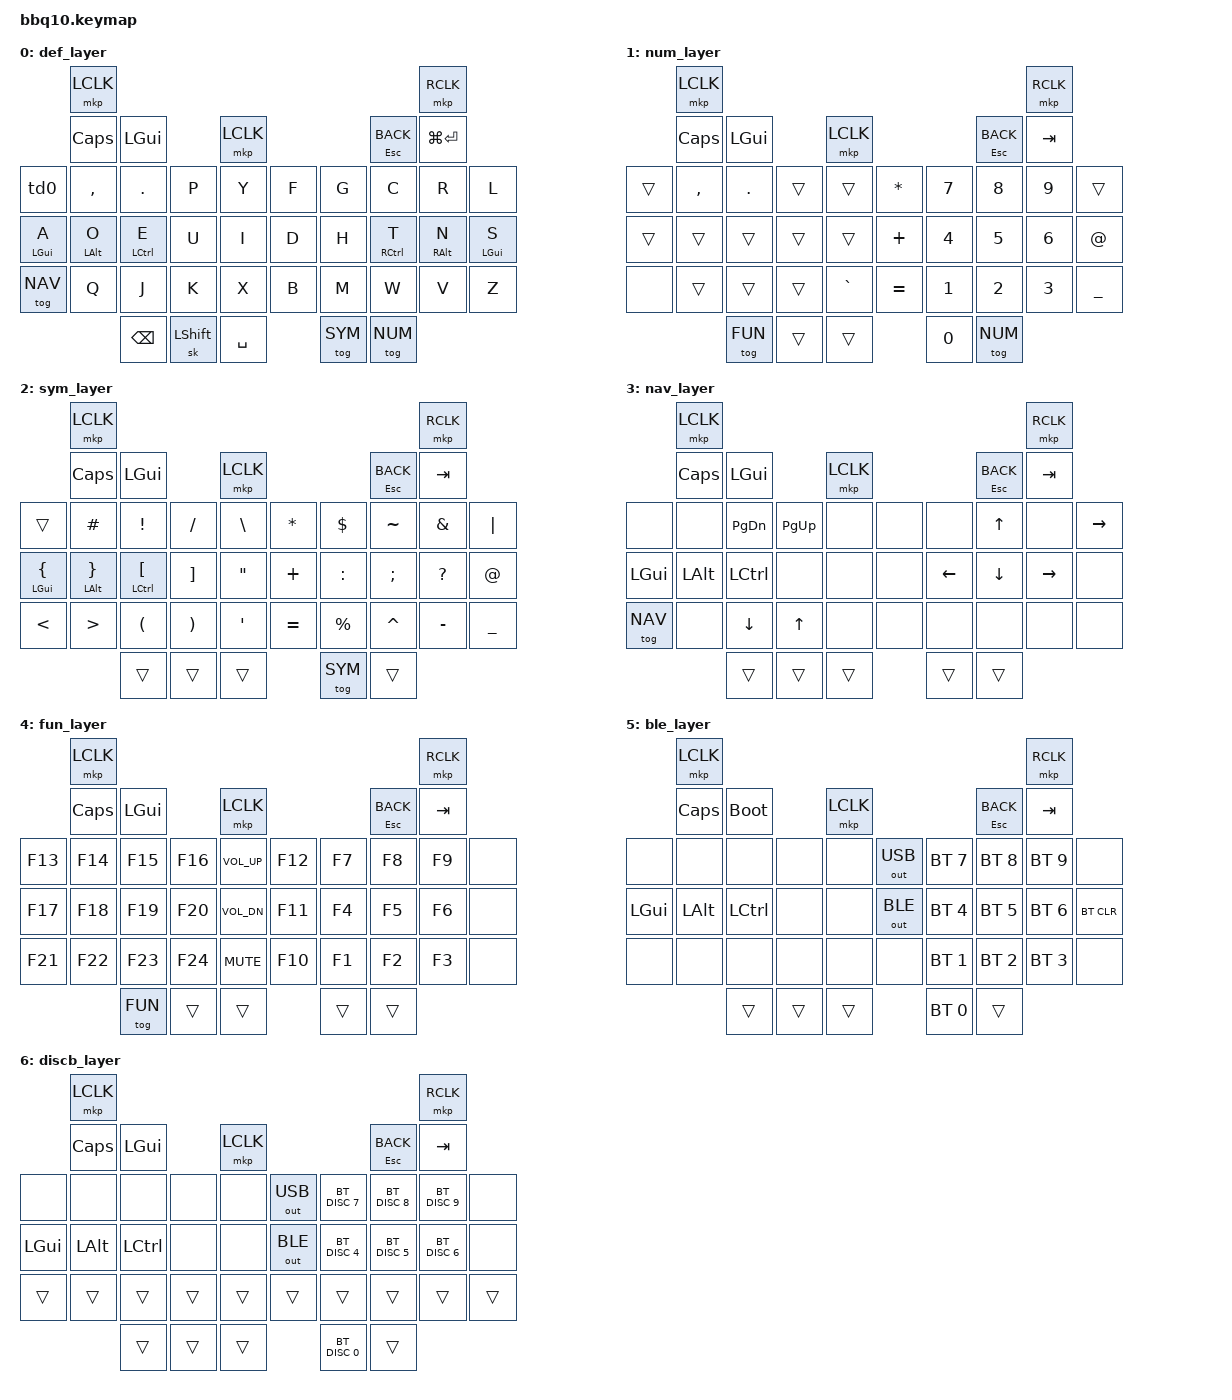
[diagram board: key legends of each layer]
/*
 * Copyright (c) 2023 ZitaoTech
 *
 * SPDX-License-Identifier: MIT
 */

#include <behaviors.dtsi>
#include <dt-bindings/zmk/keys.h>
#include <dt-bindings/zmk/bt.h>
#include <dt-bindings/zmk/outputs.h>
#include <dt-bindings/zmk/mouse.h>
#include <dt-bindings/zmk/backlight.h>
#include <dt-bindings/zmk/ext_power.h>

#define DEF 0
#define NUM 1
#define SYM 2
#define NAV 3
#define FUN 4
#define BLE 5
#define DISCB 6

//  0  1  2       3      4  5  6
//  7  8  9  10 11 12 13 14 15 16
//  17 18 19 20 21 22 23 24 25 26
//  27 28 29 30 31 32 33 34 35 36
//     37 38      39     40 41

/ {
    combos {
        compatible = "zmk,combos";
        combo_esc {
            timeout-ms = <50>;
            key-positions = <12 13>;
            bindings = <&kp ESC>;
        };
        combo_ret {
            timeout-ms = <50>;
            key-positions = <13 14>;
            bindings = <&kp RET>;
        };
        combo_tab {
            timeout-ms = <50>;
            key-positions = <10 11>;
            bindings = <&kp TAB>;
        };
        combo_bspace {
            timeout-ms = <50>;
            key-positions = <23 24>;
            bindings = <&kp BSPC>;
        };
    };
        behaviors {
                td0: tap_dance_0 {
                     compatible = "zmk,behavior-tap-dance";
                     #binding-cells = <0>;
                     tapping-term-ms = <200>;
                     bindings = <&sl 5>, <&sl 6>, <&kp CAPS>;
                };
                lht: left_positional_hold_tap {
                     compatible = "zmk,behavior-hold-tap";
                     #binding-cells = <2>;
                     flavor = "tap-preferred";
                     tapping-term-ms = <300>;
                     quick-tap-ms = <200>;
                     require-prior-idle-ms = <125>;
                     bindings = <&kp>, <&kp>;
                     //hold-trigger-key-positions = < 12 13 14 15 16 22 23 24 25 26 31 32 33 34 35 36 37 38 39 40 41 >;
                };
                rht: right_positional_hold_tap {
                     compatible = "zmk,behavior-hold-tap";
                     #binding-cells = <2>;
                     flavor = "tap-preferred";
                     tapping-term-ms = <300>;
                     quick-tap-ms = <200>;
                     require-prior-idle-ms = <125>;
                     bindings = <&kp>, <&kp>;
                     //hold-trigger-key-positions = < 7 8 9 10 11 17 18 19 20 21 27 28 29 30 31 37 38 39 40 41 >;
                };
    };
        keymap {
                compatible = "zmk,keymap";

                def_layer {
                        bindings = <
//                      _______________                                                                                                 _______________
//                     | ShoudlderKey1 |                                                                                               | Shoulderkey2  |
                        &mkp LCLK                                                                                                       &mkp RCLK
//                     |_______________|_______________                 _______________________________                 _______________|_______________|
//                     | Call Key      |  BB Key       |               |           Trackpad            |               | Back Key      | End Call Key  |
                        &kp CLCK        &kp LGUI                            &mkp LCLK                                    &mt ESC K_BACK   &kp LG(RET)
//      _______________|_______________|_______________|_______________|_______________ _______________|_______________|_______________|_______________|_______________
//0    |1              |2              |3              |4              |5              |6              |7              |8              |9              |10             |
        &td0            &kp COMMA       &kp DOT         &kp P           &kp Y           &kp F           &kp G           &kp C           &kp R           &kp L
//     |_______________|_______________|_______________|_______________|_______________|_______________|_______________|_______________|_______________|_______________|
//12   |13             |14             |15             |16             |17             |18             |19             |20             |21             |22             |
        &lht LGUI A     &lht LALT O     &lht LCTRL E    &kp U           &kp I           &kp D           &kp H           &rht RCTRL T    &rht RALT N     &rht LGUI S
//     |_______________|_______________|_______________|_______________|_______________|_______________|_______________|_______________|_______________|_______________|
//24   |25             |26             |27             |28             |29             |30             |31             |32             |33             |34             |
        &tog NAV        &kp Q           &kp J           &kp K           &kp X           &kp B           &kp M           &kp W           &kp V           &kp Z
//     |_______________|_______________|_______________|_______________|_______________|_______________|_______________|_______________|_______________|_______________|
//                                     |36             |37             |38         SPACEKEY            |40             |41             |
                                        &kp BSPC        &sk LSHFT        &kp SPACE                       &tog SYM         &tog NUM
//                                     |_______________|_______________|_______________________________|_______________|_______________|
                        >;
                };

                num_layer {

                        bindings = <
//                      _______________                                                                                                 _______________
//                     | ShoudlderKey1 |                                                                                               | Shoulderkey2  |
                        &mkp LCLK                                                                                                       &mkp RCLK
//                     |_______________|_______________                 _______________________________                 _______________|_______________|
//                     | Call Key      |  BB Key       |               |           Trackpad            |               | Back Key      | End Call Key  |
                        &kp CLCK        &kp LGUI                            &mkp LCLK                                    &mt ESC K_BACK   &kp TAB
//      _______________|_______________|_______________|_______________|_______________ _______________|_______________|_______________|_______________|_______________ 
//0    |1              |2              |3              |4              |5              |6              |7              |8              |9              |10             |
        &trans          &kp COMMA       &kp DOT         &trans          &trans          &kp ASTERISK    &kp N7          &kp N8          &kp N9          &trans
//     |_______________|_______________|_______________|_______________|_______________|_______________|_______________|_______________|_______________|_______________|
//12   |13             |14             |15             |16             |17             |18             |19             |20             |21             |22             |
        &trans          &trans          &trans          &trans          &trans          &kp PLUS        &kp N4          &kp N5          &kp N6          &kp AT
//     |_______________|_______________|_______________|_______________|_______________|_______________|_______________|_______________|_______________|_______________|
//24   |25             |26             |27             |28             |29             |30             |31             |32             |33             |34             |
        &none           &trans          &trans          &trans          &kp GRAVE       &kp EQUAL       &kp N1          &kp N2          &kp N3          &kp UNDERSCORE
//     |_______________|_______________|_______________|_______________|_______________|_______________|_______________|_______________|_______________|_______________|
//                                     |36             |37             |38         SPACEKEY            |40             |41             |
                                        &tog FUN        &trans          &trans                          &kp N0          &tog NUM
//                                     |_______________|_______________|_______________________________|_______________|_______________|
                        >;
                };

                sym_layer {
                        bindings = <
//                      _______________                                                                                                 _______________
//                     | ShoudlderKey1 |                                                                                               | Shoulderkey2  |
                        &mkp LCLK                                                                                                       &mkp RCLK
//                     |_______________|_______________                 _______________________________                 _______________|_______________|
//                     | Call Key      |  BB Key       |               |           Trackpad            |               | Back Key      | End Call Key  |
                        &kp CLCK        &kp LGUI                            &mkp LCLK                                    &mt ESC K_BACK   &kp TAB
//      _______________|_______________|_______________|_______________|_______________ _______________|_______________|_______________|_______________|_______________
//0    |1              |2              |3              |4              |5              |6              |7              |8              |9              |10             |
        &trans          &kp POUND       &kp EXCLAMATION &kp SLASH       &kp BACKSLASH   &kp ASTERISK    &kp DOLLAR      &kp TILDE       &kp AMPERSAND   &kp PIPE
//     |_______________|_______________|_______________|_______________|_______________|_______________|_______________|_______________|_______________|_______________|
//12   |13             |14             |15             |16             |17             |18             |19             |20             |21             |22             |
        &lht LGUI LBRC  &lht LALT RBRC  &lht LCTRL LBKT &kp RBKT        &kp DQT         &kp PLUS        &kp COLON       &kp SEMI        &kp QMARK       &kp AT
//     |_______________|_______________|_______________|_______________|_______________|_______________|_______________|_______________|_______________|_______________|
//24   |25             |26             |27             |28             |29             |30             |31             |32             |33             |34             |
        &kp LT          &kp GT          &kp LPAR        &kp RPAR        &kp SQT         &kp EQUAL       &kp PERCENT     &kp CARET       &kp MINUS       &kp UNDERSCORE
//     |_______________|_______________|_______________|_______________|_______________|_______________|_______________|_______________|_______________|_______________|
//                                     |36             |37             |38         SPACEKEY            |40             |41             |
                                        &trans          &trans          &trans                          &tog SYM        &trans 
//                                     |_______________|_______________|_______________________________|_______________|_______________|
                        >;
                };

                nav_layer {
                        bindings = <
//                      _______________                                                                                                 _______________
//                     | ShoudlderKey1 |                                                                                               | Shoulderkey2  |
                        &mkp LCLK                                                                                                       &mkp RCLK
//                     |_______________|_______________                 _______________________________                 _______________|_______________|
//                     | Call Key      |  BB Key       |               |           Trackpad            |               | Back Key      | End Call Key  |
                        &kp CLCK        &kp LGUI                            &mkp LCLK                                    &mt ESC K_BACK   &kp TAB
//      _______________|_______________|_______________|_______________|_______________ _______________|_______________|_______________|_______________|_______________
//0    |1              |2              |3              |4              |5              |6              |7              |8              |9              |10             |
        &none           &none           &kp PG_DN       &kp PG_UP       &none           &none           &none           &kp UP          &none           &kp RIGHT
//     |_______________|_______________|_______________|_______________|_______________|_______________|_______________|_______________|_______________|_______________|
//12   |13             |14             |15             |16             |17             |18             |19             |20             |21             |22             |
        &kp LGUI        &kp LALT        &kp LCTRL       &none           &none           &none           &kp LEFT        &kp DOWN        &kp RIGHT       &none
//     |_______________|_______________|_______________|_______________|_______________|_______________|_______________|_______________|_______________|_______________|
//24   |25             |26             |27             |28             |29             |30             |31             |32             |33             |34             |
        &tog NAV        &none           &kp DOWN        &kp UP          &none           &none           &none           &none           &none           &none
//     |_______________|_______________|_______________|_______________|_______________|_______________|_______________|_______________|_______________|_______________|
//                                     |36             |37             |38         SPACEKEY            |40             |41             |
                                        &trans          &trans          &trans                          &trans          &trans 
//                                     |_______________|_______________|_______________________________|_______________|_______________|
                        >;
                };
                fun_layer {
                        bindings = <
//                      _______________                                                                                                 _______________
//                     | ShoudlderKey1 |                                                                                               | Shoulderkey2  |
                        &mkp LCLK                                                                                                       &mkp RCLK
//                     |_______________|_______________                 _______________________________                 _______________|_______________|
//                     | Call Key      |  BB Key       |               |           Trackpad            |               | Back Key      | End Call Key  |
                        &kp CLCK        &kp LGUI                            &mkp LCLK                                    &mt ESC K_BACK   &kp TAB
//      _______________|_______________|_______________|_______________|_______________ _______________|_______________|_______________|_______________|_______________
//0    |1              |2              |3              |4              |5              |6              |7              |8              |9              |10             |
        &kp F13         &kp F14         &kp F15         &kp F16         &kp C_VOL_UP    &kp F12         &kp F7          &kp F8          &kp F9          &none
//     |_______________|_______________|_______________|_______________|_______________|_______________|_______________|_______________|_______________|_______________|
//12   |13             |14             |15             |16             |17             |18             |19             |20             |21             |22             |
        &kp F17         &kp F18         &kp F19         &kp F20         &kp C_VOL_DN    &kp F11         &kp F4          &kp F5          &kp F6          &none
//     |_______________|_______________|_______________|_______________|_______________|_______________|_______________|_______________|_______________|_______________|
//24   |25             |26             |27             |28             |29             |30             |31             |32             |33             |34             |
        &kp F21         &kp F22         &kp F23         &kp F24         &kp C_MUTE      &kp F10         &kp F1          &kp F2          &kp F3          &none
//     |_______________|_______________|_______________|_______________|_______________|_______________|_______________|_______________|_______________|_______________|
//                                     |36             |37             |38         SPACEKEY            |40             |41             |
                                        &tog FUN        &trans          &trans                          &trans          &trans 
//                                     |_______________|_______________|_______________________________|_______________|_______________|
                        >;
                };
                ble_layer {
                        bindings = <
//                      _______________                                                                                                 _______________
//                     | ShoudlderKey1 |                                                                                               | Shoulderkey2  |
                        &mkp LCLK                                                                                                       &mkp RCLK
//                     |_______________|_______________                 _______________________________                 _______________|_______________|
//                     | Call Key      |  BB Key       |               |           Trackpad            |               | Back Key      | End Call Key  |
                        &kp CLCK        &bootloader                         &mkp LCLK                                    &mt ESC K_BACK   &kp TAB
//      _______________|_______________|_______________|_______________|_______________ _______________|_______________|_______________|_______________|_______________
//0    |1              |2              |3              |4              |5              |6              |7              |8              |9              |10             |
        &none           &none           &none           &none           &none           &out OUT_USB     &bt BT_SEL 7    &bt BT_SEL 8    &bt BT_SEL 9   &none
//     |_______________|_______________|_______________|_______________|_______________|_______________|_______________|_______________|_______________|_______________|
//12   |13             |14             |15             |16             |17             |18             |19             |20             |21             |22             |
        &kp LGUI        &kp LALT        &kp LCTRL       &none           &none           &out OUT_BLE    &bt BT_SEL 4    &bt BT_SEL 5    &bt BT_SEL 6    &bt BT_CLR
//     |_______________|_______________|_______________|_______________|_______________|_______________|_______________|_______________|_______________|_______________|
//24   |25             |26             |27             |28             |29             |30             |31             |32             |33             |34             |
        &none           &none           &none           &none           &none           &none           &bt BT_SEL 1    &bt BT_SEL 2    &bt BT_SEL 3    &none
//     |_______________|_______________|_______________|_______________|_______________|_______________|_______________|_______________|_______________|_______________|
//                                     |36             |37             |38         SPACEKEY            |40             |41             |
                                        &trans          &trans          &trans                          &bt BT_SEL 0    &trans 
//                                     |_______________|_______________|_______________________________|_______________|_______________|
                        >;
                };
                discb_layer {
                        bindings = <
//                      _______________                                                                                                 _______________
//                     | ShoudlderKey1 |                                                                                               | Shoulderkey2  |
                        &mkp LCLK                                                                                                       &mkp RCLK
//                     |_______________|_______________                 _______________________________                 _______________|_______________|
//                     | Call Key      |  BB Key       |               |           Trackpad            |               | Back Key      | End Call Key  |
                        &kp CLCK        &kp LGUI                            &mkp LCLK                                    &mt ESC K_BACK   &kp TAB
//      _______________|_______________|_______________|_______________|_______________ _______________|_______________|_______________|_______________|_______________
//0    |1              |2              |3              |4              |5              |6              |7              |8              |9              |10             |
        &none           &none           &none           &none           &none           &out OUT_USB    &bt BT_DISC 7   &bt BT_DISC 8   &bt BT_DISC 9   &none
//     |_______________|_______________|_______________|_______________|_______________|_______________|_______________|_______________|_______________|_______________|
//12   |13             |14             |15             |16             |17             |18             |19             |20             |21             |22             |
        &kp LGUI        &kp LALT        &kp LCTRL       &none           &none           &out OUT_BLE    &bt BT_DISC 4   &bt BT_DISC 5   &bt BT_DISC 6   &none
//     |_______________|_______________|_______________|_______________|_______________|_______________|_______________|_______________|_______________|_______________|
//24   |25             |26             |27             |28             |29             |30             |31             |32             |33             |34             |
//        &none           &none           &none           &none           &none           &none           &bt BT_DISC 1   &bt BT_DISC 2   &bt BT_DISC 3   &bt BT_CLR_ALL
        &trans          &trans          &trans          &trans          &trans          &trans          &trans          &trans          &trans          &trans
//     |_______________|_______________|_______________|_______________|_______________|_______________|_______________|_______________|_______________|_______________|
//                                     |36             |37             |38         SPACEKEY            |40             |41             |
                                        &trans          &trans          &trans                          &bt BT_DISC 0   &trans
//                                     |_______________|_______________|_______________________________|_______________|_______________|
                       >;
                };

    };
};

